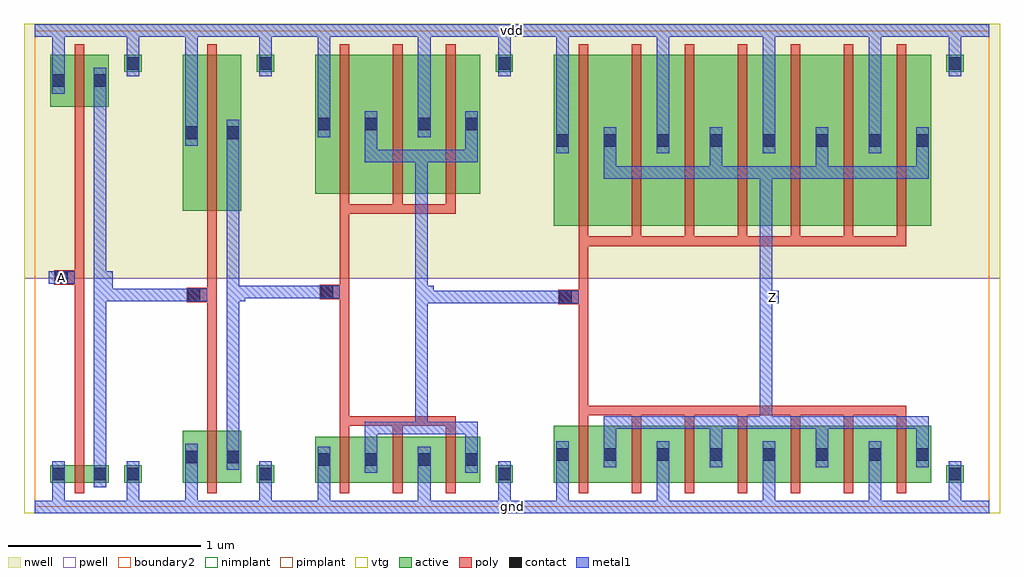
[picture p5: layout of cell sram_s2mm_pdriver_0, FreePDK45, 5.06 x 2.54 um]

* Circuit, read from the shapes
.subckt sram_s2mm_pdriver_0 A Z gnd vdd
M1 sram_s2mm_pinv_6_1/A A gnd gnd nfet w=0.09u l=0.05u
M2 sram_s2mm_pinv_7_2/A sram_s2mm_pinv_6_1/A gnd gnd nfet w=0.27u l=0.05u
M3 sram_s2mm_pinv_8_3/A sram_s2mm_pinv_7_2/A gnd gnd nfet w=0.24u l=0.05u m=3
M4 Z sram_s2mm_pinv_8_3/A gnd gnd nfet w=0.295u l=0.05u m=7
M5 sram_s2mm_pinv_6_1/A A vdd vdd pfet w=0.27u l=0.05u
M6 sram_s2mm_pinv_7_2/A sram_s2mm_pinv_6_1/A vdd vdd pfet w=0.81u l=0.05u
M7 sram_s2mm_pinv_8_3/A sram_s2mm_pinv_7_2/A vdd vdd pfet w=0.72u l=0.05u m=3
M8 Z sram_s2mm_pinv_8_3/A vdd vdd pfet w=0.8875u l=0.05u m=7
.ends

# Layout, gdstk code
import gdstk
lib = gdstk.Library(unit=1e-6, precision=5e-10)
def R(c, l, rs):  # rectangles x0, y0, x1, y1
    for r in rs: c.add(gdstk.rectangle(r[:2], r[2:], *l))
def A(c, l, x, y, w, h, nx, ny, dx, dy):  # array of equal rectangles
    R(c, l, [(x+i*dx, y+j*dy, x+i*dx+w, y+j*dy+h) for i in range(nx) for j in range(ny)])
active = (1, 0)
pwell = (2, 0)
nwell = (3, 0)
nimplant = (4, 0)
pimplant = (5, 0)
vtg = (6, 0)
poly = (9, 0)
contact = (10, 0)
metal1 = (11, 0)
boundary2 = (239, 0)

sram_s2mm_contact_11 = lib.new_cell('sram_s2mm_contact_11')
R(sram_s2mm_contact_11, active, [(0,0.0225,0.09,0.1125)])
R(sram_s2mm_contact_11, nwell, [(-0.055,-0.0325,0.145,0.1675)])
R(sram_s2mm_contact_11, pimplant, [(0,0.0225,0.09,0.1125)])
R(sram_s2mm_contact_11, contact, [(0.0125,0.035,0.0775,0.1)])
R(sram_s2mm_contact_11, metal1, [(0.0125,0,0.0775,0.135)])
R(sram_s2mm_contact_11, boundary2, [(-0.055,-0.0325,0.145,0.1675)])

sram_s2mm_pmos_m1_w0_270 = lib.new_cell('sram_s2mm_pmos_m1_w0_270_sm1_dm1_da_p')
R(sram_s2mm_pmos_m1_w0_270, active, [(0,0,0.305,0.27)])
R(sram_s2mm_pmos_m1_w0_270, nwell, [(-0.08,-0.08,0.385,0.35)])
R(sram_s2mm_pmos_m1_w0_270, pimplant, [(0,0,0.305,0.27)])
R(sram_s2mm_pmos_m1_w0_270, vtg, [(-0.08,-0.08,0.385,0.35)])
R(sram_s2mm_pmos_m1_w0_270, poly, [(0.1275,-0.055,0.1775,0.325), (0.1275,-0.055,0.1775,0.325)])
R(sram_s2mm_pmos_m1_w0_270, metal1, [(0.0125,0.0675,0.0775,0.2025), (0.2275,0.0675,0.2925,0.2025)])
R(sram_s2mm_pmos_m1_w0_270, boundary2, [(-0.08,-0.08,0.385,0.35)])
sram_s2mm_pmos_m1_w0_270.add(gdstk.Reference(sram_s2mm_contact_11, (0,0.0675)))
sram_s2mm_pmos_m1_w0_270.add(gdstk.Reference(sram_s2mm_contact_11, (0.215,0.0675)))
sram_s2mm_pmos_m1_w0_270.add(gdstk.Label('G', (0.1525,0.135), layer=9, texttype=0))
sram_s2mm_pmos_m1_w0_270.add(gdstk.Label('S', (0.045,0.135), layer=11, texttype=0))
sram_s2mm_pmos_m1_w0_270.add(gdstk.Label('D', (0.26,0.135), layer=11, texttype=0))

sram_s2mm_contact_10 = lib.new_cell('sram_s2mm_contact_10')
R(sram_s2mm_contact_10, active, [(0,0.0225,0.09,0.1125)])
R(sram_s2mm_contact_10, pwell, [(-0.055,-0.0325,0.145,0.1675)])
R(sram_s2mm_contact_10, nimplant, [(0,0.0225,0.09,0.1125)])
R(sram_s2mm_contact_10, contact, [(0.0125,0.035,0.0775,0.1)])
R(sram_s2mm_contact_10, metal1, [(0.0125,0,0.0775,0.135)])
R(sram_s2mm_contact_10, boundary2, [(-0.055,-0.0325,0.145,0.1675)])

sram_s2mm_nmos_m1_w0_090 = lib.new_cell('sram_s2mm_nmos_m1_w0_090_sm1_dm1_da_p')
R(sram_s2mm_nmos_m1_w0_090, active, [(0,0,0.305,0.09)])
R(sram_s2mm_nmos_m1_w0_090, pwell, [(-0.08,-0.08,0.385,0.17)])
R(sram_s2mm_nmos_m1_w0_090, nimplant, [(0,0,0.305,0.09)])
R(sram_s2mm_nmos_m1_w0_090, vtg, [(-0.08,-0.08,0.385,0.17)])
R(sram_s2mm_nmos_m1_w0_090, poly, [(0.1275,-0.055,0.1775,0.145), (0.1275,-0.055,0.1775,0.145)])
R(sram_s2mm_nmos_m1_w0_090, metal1, [(0.0125,-0.0225,0.0775,0.1125), (0.2275,-0.0225,0.2925,0.1125)])
R(sram_s2mm_nmos_m1_w0_090, boundary2, [(-0.08,-0.08,0.385,0.17)])
sram_s2mm_nmos_m1_w0_090.add(gdstk.Reference(sram_s2mm_contact_10, (0,-0.0225)))
sram_s2mm_nmos_m1_w0_090.add(gdstk.Reference(sram_s2mm_contact_10, (0.215,-0.0225)))
sram_s2mm_nmos_m1_w0_090.add(gdstk.Label('G', (0.1525,0.045), layer=9, texttype=0))
sram_s2mm_nmos_m1_w0_090.add(gdstk.Label('S', (0.045,0.045), layer=11, texttype=0))
sram_s2mm_nmos_m1_w0_090.add(gdstk.Label('D', (0.26,0.045), layer=11, texttype=0))

sram_s2mm_contact_12 = lib.new_cell('sram_s2mm_contact_12')
R(sram_s2mm_contact_12, active, [(0,0.0225,0.09,0.1125)])
R(sram_s2mm_contact_12, nwell, [(-0.055,-0.0325,0.145,0.1675)])
R(sram_s2mm_contact_12, nimplant, [(0,0.0225,0.09,0.1125)])
R(sram_s2mm_contact_12, contact, [(0.0125,0.035,0.0775,0.1)])
R(sram_s2mm_contact_12, metal1, [(0.0125,0,0.0775,0.135)])
R(sram_s2mm_contact_12, boundary2, [(-0.055,-0.0325,0.145,0.1675)])

sram_s2mm_contact_13 = lib.new_cell('sram_s2mm_contact_13')
R(sram_s2mm_contact_13, active, [(0,0.0225,0.09,0.1125)])
R(sram_s2mm_contact_13, pwell, [(-0.055,-0.0325,0.145,0.1675)])
R(sram_s2mm_contact_13, pimplant, [(0,0.0225,0.09,0.1125)])
R(sram_s2mm_contact_13, contact, [(0.0125,0.035,0.0775,0.1)])
R(sram_s2mm_contact_13, metal1, [(0.0125,0,0.0775,0.135)])
R(sram_s2mm_contact_13, boundary2, [(-0.055,-0.0325,0.145,0.1675)])

sram_s2mm_contact_14 = lib.new_cell('sram_s2mm_contact_14')
R(sram_s2mm_contact_14, poly, [(0.03,0,0.105,0.075)])
R(sram_s2mm_contact_14, contact, [(0.035,0.005,0.1,0.07)])
R(sram_s2mm_contact_14, metal1, [(0,0.005,0.135,0.07)])
R(sram_s2mm_contact_14, boundary2, [(0,0,0.135,0.075)])

sram_s2mm_pinv_5 = lib.new_cell('sram_s2mm_pinv_5')
R(sram_s2mm_pinv_5, pwell, [(-0.055,-0.0325,0.7425,1.185)])
R(sram_s2mm_pinv_5, nwell, [(-0.055,1.185,0.7425,2.505)])
R(sram_s2mm_pinv_5, vtg, [(-0.055,-0.0325,0.7425,1.185), (-0.055,1.185,0.7425,2.505)])
R(sram_s2mm_pinv_5, poly, [(0.2075,0.27,0.2575,2.02), (0.14,1.1525,0.2075,1.2275)])
R(sram_s2mm_pinv_5, metal1, [(0,-0.0325,0.6875,0.0325), (0.0925,-0.0325,0.1575,0.1025), (0.4775,0,0.5425,0.17), (0.3075,0.1025,0.3725,2.2775), (0.0725,1.1575,0.2075,1.2225), (0.34,1.1575,0.405,1.2225), (0.0925,2.1425,0.1575,2.5025), (0.4775,2.3,0.5425,2.47), (0,2.4375,0.6875,2.5025)])
R(sram_s2mm_pinv_5, boundary2, [(0,0,0.6875,2.47), (0,0,0.6875,2.47)])
sram_s2mm_pinv_5.add(gdstk.Reference(sram_s2mm_pmos_m1_w0_270, (0.08,2.075)))
sram_s2mm_pinv_5.add(gdstk.Reference(sram_s2mm_nmos_m1_w0_090, (0.08,0.125)))
sram_s2mm_pinv_5.add(gdstk.Reference(sram_s2mm_contact_12, (0.465,2.2325)))
sram_s2mm_pinv_5.add(gdstk.Reference(sram_s2mm_contact_13, (0.465,0.1025)))
sram_s2mm_pinv_5.add(gdstk.Reference(sram_s2mm_contact_14, (0.0725,1.1525)))
sram_s2mm_pinv_5.add(gdstk.Label('A', (0.14,1.19), layer=11, texttype=0))
sram_s2mm_pinv_5.add(gdstk.Label('Z', (0.3725,1.19), layer=11, texttype=0))
sram_s2mm_pinv_5.add(gdstk.Label('gnd', (0.344,0), layer=11, texttype=0))
sram_s2mm_pinv_5.add(gdstk.Label('vdd', (0.344,2.47), layer=11, texttype=0))

sram_s2mm_pmos_m1_w0_810 = lib.new_cell('sram_s2mm_pmos_m1_w0_810_sm1_dm1_da_p')
R(sram_s2mm_pmos_m1_w0_810, active, [(0,0,0.305,0.81)])
R(sram_s2mm_pmos_m1_w0_810, nwell, [(-0.08,-0.08,0.385,0.89)])
R(sram_s2mm_pmos_m1_w0_810, pimplant, [(0,0,0.305,0.81)])
R(sram_s2mm_pmos_m1_w0_810, vtg, [(-0.08,-0.08,0.385,0.89)])
R(sram_s2mm_pmos_m1_w0_810, poly, [(0.1275,-0.055,0.1775,0.865), (0.1275,-0.055,0.1775,0.865)])
R(sram_s2mm_pmos_m1_w0_810, metal1, [(0.0125,0.3375,0.0775,0.4725), (0.2275,0.3375,0.2925,0.4725)])
R(sram_s2mm_pmos_m1_w0_810, boundary2, [(-0.08,-0.08,0.385,0.89)])
sram_s2mm_pmos_m1_w0_810.add(gdstk.Reference(sram_s2mm_contact_11, (0,0.3375)))
sram_s2mm_pmos_m1_w0_810.add(gdstk.Reference(sram_s2mm_contact_11, (0.215,0.3375)))
sram_s2mm_pmos_m1_w0_810.add(gdstk.Label('G', (0.1525,0.405), layer=9, texttype=0))
sram_s2mm_pmos_m1_w0_810.add(gdstk.Label('S', (0.045,0.405), layer=11, texttype=0))
sram_s2mm_pmos_m1_w0_810.add(gdstk.Label('D', (0.26,0.405), layer=11, texttype=0))

sram_s2mm_nmos_m1_w0_270 = lib.new_cell('sram_s2mm_nmos_m1_w0_270_sm1_dm1_da_p')
R(sram_s2mm_nmos_m1_w0_270, active, [(0,0,0.305,0.27)])
R(sram_s2mm_nmos_m1_w0_270, pwell, [(-0.08,-0.08,0.385,0.35)])
R(sram_s2mm_nmos_m1_w0_270, nimplant, [(0,0,0.305,0.27)])
R(sram_s2mm_nmos_m1_w0_270, vtg, [(-0.08,-0.08,0.385,0.35)])
R(sram_s2mm_nmos_m1_w0_270, poly, [(0.1275,-0.055,0.1775,0.325), (0.1275,-0.055,0.1775,0.325)])
R(sram_s2mm_nmos_m1_w0_270, metal1, [(0.0125,0.0675,0.0775,0.2025), (0.2275,0.0675,0.2925,0.2025)])
R(sram_s2mm_nmos_m1_w0_270, boundary2, [(-0.08,-0.08,0.385,0.35)])
sram_s2mm_nmos_m1_w0_270.add(gdstk.Reference(sram_s2mm_contact_10, (0,0.0675)))
sram_s2mm_nmos_m1_w0_270.add(gdstk.Reference(sram_s2mm_contact_10, (0.215,0.0675)))
sram_s2mm_nmos_m1_w0_270.add(gdstk.Label('G', (0.1525,0.135), layer=9, texttype=0))
sram_s2mm_nmos_m1_w0_270.add(gdstk.Label('S', (0.045,0.135), layer=11, texttype=0))
sram_s2mm_nmos_m1_w0_270.add(gdstk.Label('D', (0.26,0.135), layer=11, texttype=0))

sram_s2mm_pinv_6 = lib.new_cell('sram_s2mm_pinv_6')
R(sram_s2mm_pinv_6, pwell, [(-0.055,-0.0325,0.7425,1.185)])
R(sram_s2mm_pinv_6, nwell, [(-0.055,1.185,0.7425,2.505)])
R(sram_s2mm_pinv_6, vtg, [(-0.055,-0.0325,0.7425,1.185), (-0.055,1.185,0.7425,2.505)])
R(sram_s2mm_pinv_6, poly, [(0.2075,0.45,0.2575,1.48), (0.14,1.0625,0.2075,1.1375)])
R(sram_s2mm_pinv_6, metal1, [(0,-0.0325,0.6875,0.0325), (0.0925,-0.0325,0.1575,0.1925), (0.4775,0,0.5425,0.17), (0.3075,0.1925,0.3725,2.0075), (0.0725,1.0675,0.2075,1.1325), (0.34,1.0675,0.405,1.1325), (0.0925,1.8725,0.1575,2.5025), (0.4775,2.3,0.5425,2.47), (0,2.4375,0.6875,2.5025)])
R(sram_s2mm_pinv_6, boundary2, [(0,0,0.6875,2.47), (0,0,0.6875,2.47)])
sram_s2mm_pinv_6.add(gdstk.Reference(sram_s2mm_pmos_m1_w0_810, (0.08,1.535)))
sram_s2mm_pinv_6.add(gdstk.Reference(sram_s2mm_nmos_m1_w0_270, (0.08,0.125)))
sram_s2mm_pinv_6.add(gdstk.Reference(sram_s2mm_contact_12, (0.465,2.2325)))
sram_s2mm_pinv_6.add(gdstk.Reference(sram_s2mm_contact_13, (0.465,0.1025)))
sram_s2mm_pinv_6.add(gdstk.Reference(sram_s2mm_contact_14, (0.0725,1.0625)))
sram_s2mm_pinv_6.add(gdstk.Label('A', (0.14,1.1), layer=11, texttype=0))
sram_s2mm_pinv_6.add(gdstk.Label('Z', (0.3725,1.1), layer=11, texttype=0))
sram_s2mm_pinv_6.add(gdstk.Label('gnd', (0.344,0), layer=11, texttype=0))
sram_s2mm_pinv_6.add(gdstk.Label('vdd', (0.344,2.47), layer=11, texttype=0))

sram_s2mm_pmos_m3_w0_720 = lib.new_cell('sram_s2mm_pmos_m3_w0_720_sm1_dm1_da_p')
R(sram_s2mm_pmos_m3_w0_720, active, [(0,0,0.855,0.72)])
R(sram_s2mm_pmos_m3_w0_720, nwell, [(-0.08,-0.08,0.935,0.8)])
R(sram_s2mm_pmos_m3_w0_720, pimplant, [(0,0,0.855,0.72)])
R(sram_s2mm_pmos_m3_w0_720, vtg, [(-0.08,-0.08,0.935,0.8)])
A(sram_s2mm_pmos_m3_w0_720, poly, 0.1275, -0.055, 0.05, 0.83, 3, 1, 0.275, 0)
R(sram_s2mm_pmos_m3_w0_720, poly, [(0.1275,-0.105,0.7275,-0.055)])
R(sram_s2mm_pmos_m3_w0_720, metal1, [(0.2575,0.1625,0.8425,0.2275), (0.2575,0.195,0.3225,0.36), (0.7775,0.195,0.8425,0.36), (0.0125,0.2925,0.0775,0.4275), (0.5325,0.2925,0.5975,0.4275)])
R(sram_s2mm_pmos_m3_w0_720, boundary2, [(-0.08,-0.105,0.935,0.8)])
sram_s2mm_pmos_m3_w0_720.add(gdstk.Reference(sram_s2mm_contact_11, (0,0.2925)))
sram_s2mm_pmos_m3_w0_720.add(gdstk.Reference(sram_s2mm_contact_11, (0.245,0.2925)))
sram_s2mm_pmos_m3_w0_720.add(gdstk.Reference(sram_s2mm_contact_11, (0.52,0.2925)))
sram_s2mm_pmos_m3_w0_720.add(gdstk.Reference(sram_s2mm_contact_11, (0.765,0.2925)))
sram_s2mm_pmos_m3_w0_720.add(gdstk.Label('G', (0.4275,-0.08), layer=9, texttype=0))
sram_s2mm_pmos_m3_w0_720.add(gdstk.Label('S', (0.045,0.36), layer=11, texttype=0))
sram_s2mm_pmos_m3_w0_720.add(gdstk.Label('S', (0.565,0.36), layer=11, texttype=0))
sram_s2mm_pmos_m3_w0_720.add(gdstk.Label('D', (0.55,0.195), layer=11, texttype=0))

sram_s2mm_nmos_m3_w0_240 = lib.new_cell('sram_s2mm_nmos_m3_w0_240_sm1_dm1_da_p')
R(sram_s2mm_nmos_m3_w0_240, active, [(0,0,0.855,0.24)])
R(sram_s2mm_nmos_m3_w0_240, pwell, [(-0.08,-0.08,0.935,0.32)])
R(sram_s2mm_nmos_m3_w0_240, nimplant, [(0,0,0.855,0.24)])
R(sram_s2mm_nmos_m3_w0_240, vtg, [(-0.08,-0.08,0.935,0.32)])
A(sram_s2mm_nmos_m3_w0_240, poly, 0.1275, -0.055, 0.05, 0.35, 3, 1, 0.275, 0)
R(sram_s2mm_nmos_m3_w0_240, poly, [(0.1275,0.295,0.7275,0.345)])
R(sram_s2mm_nmos_m3_w0_240, metal1, [(0.0125,0.0525,0.0775,0.1875), (0.5325,0.0525,0.5975,0.1875), (0.2575,0.12,0.3225,0.285), (0.7775,0.12,0.8425,0.285), (0.2575,0.2525,0.8425,0.3175)])
R(sram_s2mm_nmos_m3_w0_240, boundary2, [(-0.08,-0.08,0.935,0.345)])
sram_s2mm_nmos_m3_w0_240.add(gdstk.Reference(sram_s2mm_contact_10, (0,0.0525)))
sram_s2mm_nmos_m3_w0_240.add(gdstk.Reference(sram_s2mm_contact_10, (0.245,0.0525)))
sram_s2mm_nmos_m3_w0_240.add(gdstk.Reference(sram_s2mm_contact_10, (0.52,0.0525)))
sram_s2mm_nmos_m3_w0_240.add(gdstk.Reference(sram_s2mm_contact_10, (0.765,0.0525)))
sram_s2mm_nmos_m3_w0_240.add(gdstk.Label('G', (0.4275,0.32), layer=9, texttype=0))
sram_s2mm_nmos_m3_w0_240.add(gdstk.Label('S', (0.565,0.12), layer=11, texttype=0))
sram_s2mm_nmos_m3_w0_240.add(gdstk.Label('S', (0.045,0.12), layer=11, texttype=0))
sram_s2mm_nmos_m3_w0_240.add(gdstk.Label('D', (0.55,0.285), layer=11, texttype=0))

sram_s2mm_pinv_7 = lib.new_cell('sram_s2mm_pinv_7')
R(sram_s2mm_pinv_7, pwell, [(-0.055,-0.0325,1.2925,1.185)])
R(sram_s2mm_pinv_7, nwell, [(-0.055,1.185,1.2925,2.505)])
R(sram_s2mm_pinv_7, vtg, [(-0.055,-0.0325,1.2925,1.185), (-0.055,1.185,1.2925,2.505)])
R(sram_s2mm_pinv_7, poly, [(0.2075,0.47,0.2575,1.52), (0.14,1.0775,0.2075,1.1525)])
R(sram_s2mm_pinv_7, metal1, [(0,-0.0325,1.2375,0.0325), (0.0925,-0.0325,0.1575,0.1775), (0.6125,-0.0325,0.6775,0.1775), (1.0275,0,1.0925,0.17), (0.5975,0.3775,0.6625,1.8525), (0.0725,1.0825,0.2075,1.1475), (0.63,1.0825,0.695,1.1475), (0.0925,1.9175,0.1575,2.5025), (0.6125,1.9175,0.6775,2.5025), (1.0275,2.3,1.0925,2.47), (0,2.4375,1.2375,2.5025)])
R(sram_s2mm_pinv_7, boundary2, [(0,0,1.2375,2.47), (0,0,1.2375,2.47)])
sram_s2mm_pinv_7.add(gdstk.Reference(sram_s2mm_pmos_m3_w0_720, (0.08,1.625)))
sram_s2mm_pinv_7.add(gdstk.Reference(sram_s2mm_nmos_m3_w0_240, (0.08,0.125)))
sram_s2mm_pinv_7.add(gdstk.Reference(sram_s2mm_contact_12, (1.015,2.2325)))
sram_s2mm_pinv_7.add(gdstk.Reference(sram_s2mm_contact_13, (1.015,0.1025)))
sram_s2mm_pinv_7.add(gdstk.Reference(sram_s2mm_contact_14, (0.0725,1.0775)))
sram_s2mm_pinv_7.add(gdstk.Label('A', (0.14,1.115), layer=11, texttype=0))
sram_s2mm_pinv_7.add(gdstk.Label('Z', (0.6625,1.115), layer=11, texttype=0))
sram_s2mm_pinv_7.add(gdstk.Label('gnd', (0.619,0), layer=11, texttype=0))
sram_s2mm_pinv_7.add(gdstk.Label('vdd', (0.619,2.47), layer=11, texttype=0))

sram_s2mm_pmos_m7_w0_888 = lib.new_cell('sram_s2mm_pmos_m7_w0_888_sm1_dm1_da_p')
R(sram_s2mm_pmos_m7_w0_888, active, [(0,0,1.955,0.8875)])
R(sram_s2mm_pmos_m7_w0_888, nwell, [(-0.08,-0.08,2.035,0.9675)])
R(sram_s2mm_pmos_m7_w0_888, pimplant, [(0,0,1.955,0.8875)])
R(sram_s2mm_pmos_m7_w0_888, vtg, [(-0.08,-0.08,2.035,0.9675)])
A(sram_s2mm_pmos_m7_w0_888, poly, 0.1275, -0.055, 0.05, 0.9975, 7, 1, 0.275, 0)
R(sram_s2mm_pmos_m7_w0_888, poly, [(0.1275,-0.105,1.8275,-0.055)])
A(sram_s2mm_pmos_m7_w0_888, metal1, 0.2575, 0.28, 0.065, 0.165, 3, 1, 0.55, 0)
A(sram_s2mm_pmos_m7_w0_888, metal1, 0.5325, 0.375, 0.065, 0.135, 3, 1, 0.55, 0)
R(sram_s2mm_pmos_m7_w0_888, metal1, [(0.2575,0.245,1.9425,0.31), (1.8775,0.28,1.9425,0.445), (0.0125,0.375,0.0775,0.51)])
R(sram_s2mm_pmos_m7_w0_888, boundary2, [(-0.08,-0.105,2.035,0.9675)])
sram_s2mm_pmos_m7_w0_888.add(gdstk.Reference(sram_s2mm_contact_11, (0,0.375)))
sram_s2mm_pmos_m7_w0_888.add(gdstk.Reference(sram_s2mm_contact_11, (0.245,0.375)))
sram_s2mm_pmos_m7_w0_888.add(gdstk.Reference(sram_s2mm_contact_11, (0.52,0.375)))
sram_s2mm_pmos_m7_w0_888.add(gdstk.Reference(sram_s2mm_contact_11, (0.795,0.375)))
sram_s2mm_pmos_m7_w0_888.add(gdstk.Reference(sram_s2mm_contact_11, (1.07,0.375)))
sram_s2mm_pmos_m7_w0_888.add(gdstk.Reference(sram_s2mm_contact_11, (1.345,0.375)))
sram_s2mm_pmos_m7_w0_888.add(gdstk.Reference(sram_s2mm_contact_11, (1.62,0.375)))
sram_s2mm_pmos_m7_w0_888.add(gdstk.Reference(sram_s2mm_contact_11, (1.865,0.375)))
sram_s2mm_pmos_m7_w0_888.add(gdstk.Label('G', (0.9775,-0.08), layer=9, texttype=0))
sram_s2mm_pmos_m7_w0_888.add(gdstk.Label('S', (0.045,0.4425), layer=11, texttype=0))
sram_s2mm_pmos_m7_w0_888.add(gdstk.Label('S', (1.665,0.4425), layer=11, texttype=0))
sram_s2mm_pmos_m7_w0_888.add(gdstk.Label('S', (1.115,0.4425), layer=11, texttype=0))
sram_s2mm_pmos_m7_w0_888.add(gdstk.Label('S', (0.565,0.4425), layer=11, texttype=0))
sram_s2mm_pmos_m7_w0_888.add(gdstk.Label('D', (1.1,0.2775), layer=11, texttype=0))

sram_s2mm_nmos_m7_w0_295 = lib.new_cell('sram_s2mm_nmos_m7_w0_295_sm1_dm1_da_p')
R(sram_s2mm_nmos_m7_w0_295, active, [(0,0,1.955,0.295)])
R(sram_s2mm_nmos_m7_w0_295, pwell, [(-0.08,-0.08,2.035,0.375)])
R(sram_s2mm_nmos_m7_w0_295, nimplant, [(0,0,1.955,0.295)])
R(sram_s2mm_nmos_m7_w0_295, vtg, [(-0.08,-0.08,2.035,0.375)])
A(sram_s2mm_nmos_m7_w0_295, poly, 0.1275, -0.055, 0.05, 0.405, 7, 1, 0.275, 0)
R(sram_s2mm_nmos_m7_w0_295, poly, [(0.1275,0.35,1.8275,0.4)])
A(sram_s2mm_nmos_m7_w0_295, metal1, 0.5325, 0.08, 0.065, 0.135, 3, 1, 0.55, 0)
A(sram_s2mm_nmos_m7_w0_295, metal1, 0.2575, 0.1475, 0.065, 0.165, 3, 1, 0.55, 0)
R(sram_s2mm_nmos_m7_w0_295, metal1, [(0.0125,0.08,0.0775,0.215), (1.8775,0.1475,1.9425,0.3125), (0.2575,0.28,1.9425,0.345)])
R(sram_s2mm_nmos_m7_w0_295, boundary2, [(-0.08,-0.08,2.035,0.4)])
sram_s2mm_nmos_m7_w0_295.add(gdstk.Reference(sram_s2mm_contact_10, (0,0.08)))
sram_s2mm_nmos_m7_w0_295.add(gdstk.Reference(sram_s2mm_contact_10, (0.245,0.08)))
sram_s2mm_nmos_m7_w0_295.add(gdstk.Reference(sram_s2mm_contact_10, (0.52,0.08)))
sram_s2mm_nmos_m7_w0_295.add(gdstk.Reference(sram_s2mm_contact_10, (0.795,0.08)))
sram_s2mm_nmos_m7_w0_295.add(gdstk.Reference(sram_s2mm_contact_10, (1.07,0.08)))
sram_s2mm_nmos_m7_w0_295.add(gdstk.Reference(sram_s2mm_contact_10, (1.345,0.08)))
sram_s2mm_nmos_m7_w0_295.add(gdstk.Reference(sram_s2mm_contact_10, (1.62,0.08)))
sram_s2mm_nmos_m7_w0_295.add(gdstk.Reference(sram_s2mm_contact_10, (1.865,0.08)))
sram_s2mm_nmos_m7_w0_295.add(gdstk.Label('G', (0.9775,0.375), layer=9, texttype=0))
sram_s2mm_nmos_m7_w0_295.add(gdstk.Label('S', (1.665,0.1475), layer=11, texttype=0))
sram_s2mm_nmos_m7_w0_295.add(gdstk.Label('S', (0.045,0.1475), layer=11, texttype=0))
sram_s2mm_nmos_m7_w0_295.add(gdstk.Label('S', (0.565,0.1475), layer=11, texttype=0))
sram_s2mm_nmos_m7_w0_295.add(gdstk.Label('S', (1.115,0.1475), layer=11, texttype=0))
sram_s2mm_nmos_m7_w0_295.add(gdstk.Label('D', (1.1,0.3125), layer=11, texttype=0))

sram_s2mm_pinv_8 = lib.new_cell('sram_s2mm_pinv_8')
R(sram_s2mm_pinv_8, pwell, [(-0.055,-0.0325,2.3925,1.185)])
R(sram_s2mm_pinv_8, nwell, [(-0.055,1.185,2.3925,2.505)])
R(sram_s2mm_pinv_8, vtg, [(-0.055,-0.0325,2.3925,1.185), (-0.055,1.185,2.3925,2.505)])
R(sram_s2mm_pinv_8, poly, [(0.2075,0.525,0.2575,1.3525), (0.14,1.05,0.2075,1.125)])
A(sram_s2mm_pinv_8, metal1, 0.6125, -0.0325, 0.065, 0.2375, 3, 1, 0.55, 0)
A(sram_s2mm_pinv_8, metal1, 0.6125, 1.8325, 0.065, 0.67, 3, 1, 0.55, 0)
R(sram_s2mm_pinv_8, metal1, [(0,-0.0325,2.3375,0.0325), (0.0925,-0.0325,0.1575,0.205), (2.1275,0,2.1925,0.17), (1.1475,0.405,1.2125,1.7675), (0.0725,1.055,0.2075,1.12), (1.18,1.055,1.245,1.12), (0.0925,1.8325,0.1575,2.5025), (2.1275,2.3,2.1925,2.47), (0,2.4375,2.3375,2.5025)])
R(sram_s2mm_pinv_8, boundary2, [(0,0,2.3375,2.47), (0,0,2.3375,2.47)])
sram_s2mm_pinv_8.add(gdstk.Reference(sram_s2mm_pmos_m7_w0_888, (0.08,1.4575)))
sram_s2mm_pinv_8.add(gdstk.Reference(sram_s2mm_nmos_m7_w0_295, (0.08,0.125)))
sram_s2mm_pinv_8.add(gdstk.Reference(sram_s2mm_contact_12, (2.115,2.2325)))
sram_s2mm_pinv_8.add(gdstk.Reference(sram_s2mm_contact_13, (2.115,0.1025)))
sram_s2mm_pinv_8.add(gdstk.Reference(sram_s2mm_contact_14, (0.0725,1.05)))
sram_s2mm_pinv_8.add(gdstk.Label('A', (0.14,1.0875), layer=11, texttype=0))
sram_s2mm_pinv_8.add(gdstk.Label('Z', (1.2125,1.0875), layer=11, texttype=0))
sram_s2mm_pinv_8.add(gdstk.Label('gnd', (1.169,0), layer=11, texttype=0))
sram_s2mm_pinv_8.add(gdstk.Label('vdd', (1.169,2.47), layer=11, texttype=0))

sram_s2mm_pdriver_0 = lib.new_cell('sram_s2mm_pdriver_0')
R(sram_s2mm_pdriver_0, pwell, [(-0.055,-0.0325,5.005,1.185)])
R(sram_s2mm_pdriver_0, nwell, [(-0.055,1.185,5.005,2.505)])
R(sram_s2mm_pdriver_0, vtg, [(-0.055,-0.0325,5.005,1.185), (-0.055,1.185,5.005,2.505)])
R(sram_s2mm_pdriver_0, metal1, [(0,-0.0325,4.95,0.0325), (2.005,1.055,2.07,1.12), (2.0375,1.055,2.7525,1.12), (3.7925,1.055,3.8575,1.12), (0.34,1.0675,0.405,1.1325), (0.3725,1.0675,0.8275,1.1325), (1.0275,1.0825,1.0925,1.1475), (1.06,1.0825,1.515,1.1475), (2.005,1.0875,2.07,1.115), (0.34,1.1,0.405,1.19), (1.0275,1.1,1.0925,1.115), (0.0725,1.1575,0.2075,1.2225), (0,2.4375,4.95,2.5025)])
R(sram_s2mm_pdriver_0, boundary2, [(0,0,4.95,2.47), (0,0,4.95,2.47)])
sram_s2mm_pdriver_0.add(gdstk.Reference(sram_s2mm_pinv_5, (0,0)))
sram_s2mm_pdriver_0.add(gdstk.Reference(sram_s2mm_pinv_6, (0.6875,0)))
sram_s2mm_pdriver_0.add(gdstk.Reference(sram_s2mm_pinv_7, (1.375,0)))
sram_s2mm_pdriver_0.add(gdstk.Reference(sram_s2mm_pinv_8, (2.6125,0)))
sram_s2mm_pdriver_0.add(gdstk.Label('Z', (3.825,1.0875), layer=11, texttype=0))
sram_s2mm_pdriver_0.add(gdstk.Label('A', (0.14,1.19), layer=11, texttype=0))
sram_s2mm_pdriver_0.add(gdstk.Label('gnd', (2.475,0), layer=11, texttype=0))
sram_s2mm_pdriver_0.add(gdstk.Label('vdd', (2.475,2.47), layer=11, texttype=0))

lib.write_gds('sram_s2mm_pdriver_0.gds')
